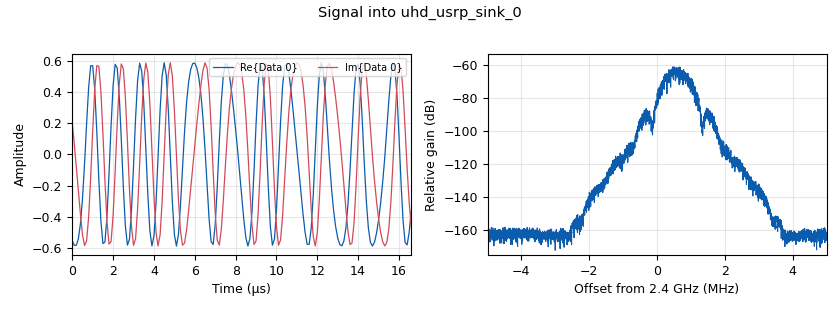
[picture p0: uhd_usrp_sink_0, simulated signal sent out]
options:
  parameters:
    author: Samuel Nolan
    generate_options: qt_gui
    id: Single_Tone_Estimator
    output_language: python
    title: Single_Tone_Estimator
  states: {}

blocks:
- name: BLE_sym_length
  id: variable
  parameters:
    value: '.000001'
  states: {}
- name: CH_gain
  id: variable
  parameters:
    value: '0'
  states: {}
- name: F_IF
  id: variable
  parameters:
    value: '595238'
  states: {}
- name: F_band
  id: variable
  parameters:
    value: 2*200000000/336/32
  states: {}
- name: TX_ID
  id: variable
  parameters:
    value: '"addr=192.168.10.2"'
  states: {}
- name: fd
  id: variable
  parameters:
    value: '250000'
  states: {}
- name: samp_rate
  id: variable
  parameters:
    value: '10000000'
  states: {}
- name: sensitivity
  id: variable
  parameters:
    value: 2*math.pi*fd/samp_rate
  states: {}
- name: analog_const_source_x_0
  id: analog_const_source_x
  parameters:
    const: '0'
    type: float
  states: {}
- name: analog_random_source_x_0
  id: analog_random_source_x
  parameters:
    max: '2'
    min: '0'
    num_samps: '100000'
    repeat: 'True'
    type: byte
  states: {}
- name: analog_sig_source_x_0
  id: analog_sig_source_x
  parameters:
    amp: '1'
    freq: '250'
    offset: '0'
    phase: '0'
    samp_rate: samp_rate
    type: float
    waveform: analog.GR_SQR_WAVE
  states: {}
- name: blocks_float_to_complex_0
  id: blocks_float_to_complex
  parameters: {}
  states: {}
- name: blocks_freqshift_cc_0
  id: blocks_freqshift_cc
  parameters:
    freq: F_IF
    sample_rate: samp_rate
  states: {}
- name: blocks_multiply_const_xx_0
  id: blocks_multiply_const_xx
  parameters:
    const: np.sqrt(2)*.4157
    type: complex
  states: {}
- name: blocks_multiply_xx_0
  id: blocks_multiply_xx
  parameters:
    type: complex
  states: {}
- name: blocks_null_sink_0
  id: blocks_null_sink
  parameters:
    type: complex
  states: {}
- name: blocks_null_source_0
  id: blocks_null_source
  parameters:
    type: complex
  states: {}
- name: digital_gfsk_mod_0_0_0
  id: digital_gfsk_mod
  parameters:
    bt: '0.5'
    do_unpack: 'False'
    samples_per_symbol: '10'
    sensitivity: '.15708'
  states: {}
- name: epy_block_0
  id: epy_block
  parameters:
    Es_Ni: '-10'
    F_of: '0'
    Pr: '-95.34'
    _source_code: |
      """
      Embedded Python Blocks:

      This block is a stand-alone block that takes in 1 BLE interferer to test 
      normalizing in band noise capabilities

      """

      import numpy as np
      from gnuradio import gr


      class blk(gr.sync_block):  # other base classes are basic_block, decim_block, interp_block
          """Normalizer"""

          def __init__(self, sampling_rate = 32000, F_of = 0, Pr = 0, Es_Ni = 0):  # only default arguments here
              """arguments to this function show up as parameters in GRC"""
              
              gr.sync_block.__init__(
                  self,
                  name='Normalizer',   # will show up in GRC
                  in_sig=[np.complex64],
                  out_sig=[np.complex64]
              )
              # if an attribute with the same name as a parameter is found,
              # a callback is registered (properties work, too).
              self.sampling_rate = sampling_rate
              self.F_of = F_of
              #generate normalizer gain from LUT
              file_path = '/n/deer/z/samnolan/BLE_PSD.csv'

              try:
                  PSD = np.genfromtxt(file_path,delimiter=',', dtype=np.double)
              except FileNotFoundError:
                  print(f"Error: File not found at {file_path}")

              fbin_width = 100
              self.Pr = Pr
              Es = -171
              Ts = 336*32/200000000
              self.BW = 2/Ts
              P_I = Es-Es_Ni + 10*np.log10(self.BW)

              #define gain to have normalized in band power
              #With this gain, we will have normalized digital power and receive ~Pr that we measured
              PSD_i_low  = int(np.round((len(PSD)//2) + (F_of//fbin_width) - ((self.BW/fbin_width)//2)+1)+1)
              PSD_i_high = int(np.round((len(PSD)//2) + (F_of//fbin_width) + ((self.BW/fbin_width)//2)))        
              self.G = np.sqrt(1/(fbin_width*np.sum(PSD[PSD_i_low:PSD_i_high,0])))*np.sqrt(10**((P_I-Pr)/10))
              print(self.G)
              

          def work(self, input_items, output_items):
              output_items[0][:] = self.G*input_items[0]

              return len(output_items[0])
    sampling_rate: samp_rate
  states: {}
- name: import_0
  id: import
  parameters:
    imports: import math
  states: {}
- name: import_1
  id: import
  parameters:
    imports: import numpy as np
  states: {}
- name: uhd_usrp_sink_0
  id: uhd_usrp_sink
  parameters:
    ant0: '"TX/RX"'
    bw0: '160000000'
    center_freq0: '2400000000'
    clock_source0: external
    dev_addr: TX_ID
    gain0: CH_gain
    samp_rate: samp_rate
    sync: sync
    type: fc32
  states: {}

connections:
- [analog_const_source_x_0, '0', blocks_float_to_complex_0, '1']
- [analog_random_source_x_0, '0', digital_gfsk_mod_0_0_0, '0']
- [analog_sig_source_x_0, '0', blocks_float_to_complex_0, '0']
- [blocks_float_to_complex_0, '0', blocks_multiply_xx_0, '1']
- [blocks_freqshift_cc_0, '0', uhd_usrp_sink_0, '0']
- [blocks_multiply_const_xx_0, '0', blocks_multiply_xx_0, '0']
- [blocks_multiply_xx_0, '0', blocks_freqshift_cc_0, '0']
- [blocks_null_source_0, '0', epy_block_0, '0']
- [digital_gfsk_mod_0_0_0, '0', blocks_multiply_const_xx_0, '0']
- [epy_block_0, '0', blocks_null_sink_0, '0']

metadata:
  file_format: 1
